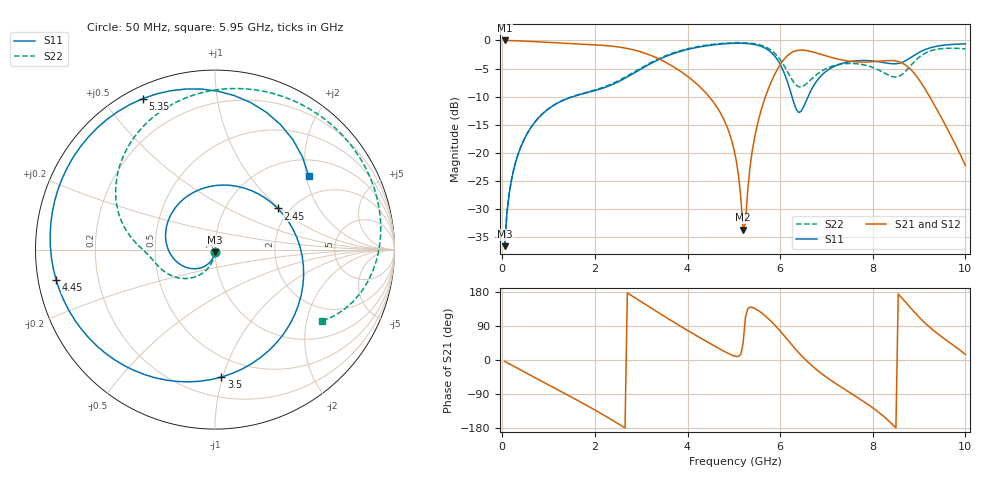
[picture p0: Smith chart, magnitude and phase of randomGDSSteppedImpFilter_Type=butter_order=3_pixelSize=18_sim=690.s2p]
! freq	dB(S11)	phase(S11)	dB(S12)	phase(S12)
!  dB(S21)	phase(S21)	dB(S22)	phase(S22)
!S-par simulation data
#  GHz  S  DB  R 50
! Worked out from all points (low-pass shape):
!   200 points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, 50 MHz to 10 GHz, reference 50 ohm
!   highest |S21| = -0.01 dB at 50 MHz (marker M1); lowest = -33.7 dB at 5.2 GHz (marker M2)
!   |S21| within 3 dB of the highest: start of sweep to 3.308 GHz; 6.123 GHz to 7.095 GHz (971.7 MHz wide, 14.7 % of centre)
!   lowest |S11| = -36.6 dB at 50 MHz (marker M3), VSWR 1.03, Z = 49.9 - j1.48 ohm
!   |S11| at or under -10 dB: start of sweep to 1.526 GHz; 6.256 GHz to 6.602 GHz (345.9 MHz wide, 5.38 % of centre)
!   |S22| runs from -36.6 to -0.4 dB; largest |S21 - S12| = 0
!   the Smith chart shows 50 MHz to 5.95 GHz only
!   S11 on the Smith chart (normalised r, x): 50 MHz: 1.00, -0.03; 2.45 GHz: 1.74, +0.97; 3.5 GHz: 0.34, -0.99; 4.45 GHz: 0.05, -0.09; 5.35 GHz: 0.05, +0.63; 5.95 GHz: 1.40, +2.07
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0.05  -36.58 -93.6  -0.01 -3.4  -0.01 -3.4  -36.57 -92.1
0.2  -24.73 -106.5  -0.04 -13.4  -0.04 -13.4  -24.71 -100.6
0.5  -17.14 -131.1  -0.13 -33.2  -0.13 -33.2  -17.12 -116.2
1.75  -9.47 116.1  -0.68 -114.9  -0.68 -114.9  -9.38 -167.0
2.45  -7.57 33.3  -1.10 -164.2  -1.10 -164.2  -7.39 177.0
2.95  -5.29 -28.1  -1.93 157.7  -1.93 157.7  -5.11 161.7
3.4  -3.32 -77.2  -3.36 122.8  -3.36 122.8  -3.16 140.9
3.5  -2.96 -87.1  -3.77 115.1  -3.77 115.1  -2.81 135.5
4.45  -0.90 -169.2  -9.84 46.1  -9.84 46.1  -0.80 78.9
5.05  -0.50 142.7  -21.27 9.2  -21.27 9.2  -0.40 39.1
5.2  -0.51 129.7  -33.66 44.7  -33.66 44.7  -0.40 28.3
5.35  -0.61 115.7  -22.46 139.5  -22.46 139.5  -0.48 17.0
5.65  -1.26 82.8  -10.80 119.3  -10.80 119.3  -1.03 -7.6
5.95  -3.55 38.2  -5.00 83.5  -5.00 83.5  -2.89 -33.7
6.3  -11.20 -51.5  -1.95 33.2  -1.95 33.2  -7.53 -44.8
6.7  -8.37 169.5  -2.04 -16.6  -2.04 -16.6  -6.69 -33.6
7.65  -3.62 78.2  -3.81 -97.4  -3.81 -97.4  -4.14 -97.0
8.35  -4.09 45.2  -3.58 -161.2  -3.58 -161.2  -6.21 166.3
8.7  -3.64 40.0  -4.34 153.8  -4.34 153.8  -5.55 72.0
9.05  -1.92 28.0  -7.60 106.9  -7.60 106.9  -2.68 -7.5
9.5  -0.88 5.6  -14.02 60.2  -14.02 60.2  -1.45 -68.8
10  -0.62 -15.9  -22.25 14.5  -22.25 14.5  -1.52 -115.3
